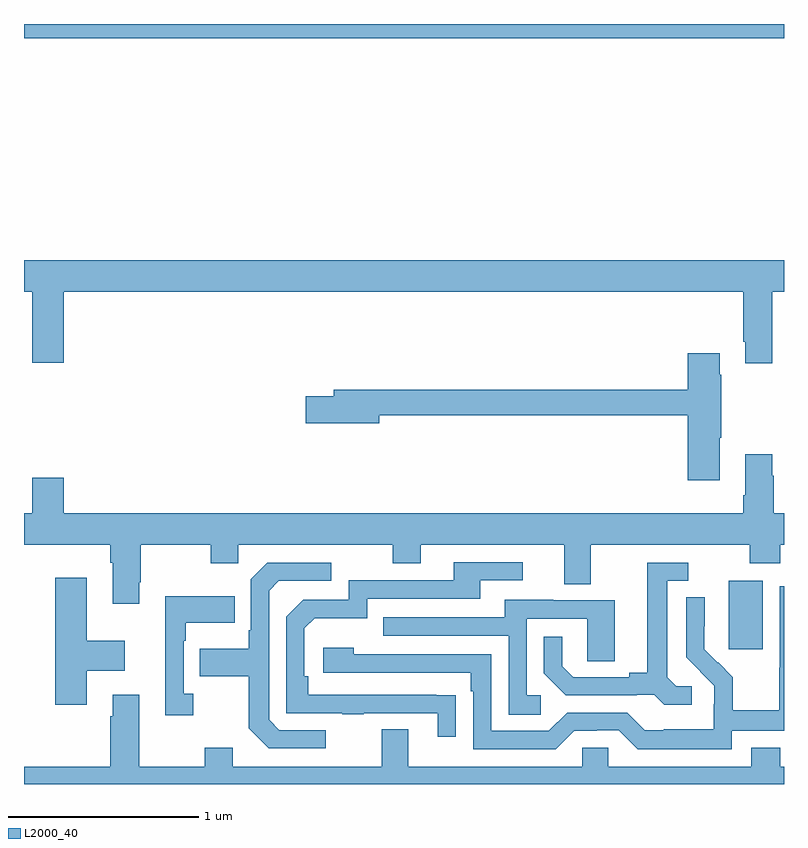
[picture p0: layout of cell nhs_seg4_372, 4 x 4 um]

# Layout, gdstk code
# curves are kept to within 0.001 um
import gdstk
lib = gdstk.Library(unit=1e-6, precision=1e-09)
def R(c, l, rs):  # rectangles x0, y0, x1, y1
    for r in rs: c.add(gdstk.rectangle(r[:2], r[2:], *l))
def P(c, l, *ps):  # polygons
    for p in ps: c.add(gdstk.Polygon(p, *l))
L2000_40 = (2000, 40)

nhs_seg4_372 = lib.new_cell('nhs_seg4_372')
R(nhs_seg4_372, L2000_40, [(132.71,789.609,132.889,789.97), (129,792.824,133,792.9)])
P(nhs_seg4_372, L2000_40, [(132.937,791.492),(133,791.492),(133,791.656),(129,791.656),(129,791.492),(129.044,791.492),(129.044,791.118),(129.208,791.118),(129.208,791.492),(132.785,791.492),(132.785,791.227),(132.797,791.227),(132.797,791.115),(132.937,791.115)],
  [(132.661,790.723),(132.669,790.723),(132.669,791.054),(132.661,791.054),(132.661,791.167),(132.494,791.167),(132.494,790.976),(130.631,790.976),(130.631,790.94),(130.482,790.94),(130.482,790.798),(130.87,790.798),(130.87,790.84),(132.494,790.84),(132.494,790.5),(132.661,790.5)],
  [(132.945,790.523),(132.937,790.523),(132.937,790.636),(132.797,790.636),(132.797,790.42),(132.785,790.42),(132.785,790.324),(129.208,790.324),(129.208,790.513),(129.044,790.513),(129.044,790.324),(129,790.324),(129,790.16),(129.455,790.16),(129.455,790.064),(129.467,790.064),(129.467,789.849),(129.607,789.849),(129.607,789.961),(129.614,789.961),(129.614,790.16),(129.982,790.16),(129.982,790.061),(130.128,790.061),(130.128,790.16),(130.942,790.16),(130.942,790.061),(131.089,790.061),(131.089,790.16),(131.843,790.16),(131.843,789.952),(131.983,789.952),(131.983,790.16),(132.82,790.16),(132.82,790.061),(132.98,790.061),(132.98,790.16),(133,790.16),(133,790.324),(132.945,790.324)],
  [(131.273,789.368),(130.496,789.369),(130.496,789.466),(130.476,789.466),(130.476,789.72),(130.529,789.773),(130.806,789.773),(130.806,789.876),(131.401,789.876),(131.401,789.972),(131.626,789.972),(131.626,790.068),(131.261,790.068),(131.261,789.972),(130.71,789.972),(130.71,789.87),(130.47,789.87),(130.38,789.78),(130.38,789.273),(130.675,789.273),(130.675,789.268),(130.787,789.268),(130.787,789.273),(131.177,789.273),(131.177,789.15),(131.273,789.15)],
  [(132.514,789.414),(132.432,789.414),(132.385,789.461),(132.385,789.969),(132.496,789.969),(132.496,790.065),(132.281,790.065),(132.281,789.485),(132.185,789.485),(132.185,789.462),(131.89,789.462),(131.833,789.519),(131.833,789.676),(131.736,789.676),(131.736,789.482),(131.852,789.366),(132.224,789.366),(132.224,789.369),(132.318,789.369),(132.37,789.317),(132.514,789.317)],
  [(130.588,789.183),(130.344,789.183),(130.29,789.237),(130.29,789.918),(130.341,789.969),(130.618,789.969),(130.618,790.065),(130.281,790.065),(130.194,789.978),(130.194,789.709),(130.182,789.709),(130.182,789.613),(129.925,789.613),(129.925,789.466),(130.182,789.466),(130.182,789.193),(130.287,789.087),(130.588,789.087)],
  [(129.331,789.497),(129.529,789.497),(129.529,789.655),(129.331,789.655),(129.331,789.985),(129.164,789.985),(129.164,789.318),(129.331,789.318)],
  [(132.726,789.18),(133,789.18),(133,789.942),(132.978,789.942),(132.978,789.512),(132.976,789.512),(132.976,789.289),(132.731,789.289),(132.731,789.463),(132.654,789.54),(132.651,789.537),(132.581,789.608),(132.582,789.884),(132.486,789.884),(132.486,789.566),(132.632,789.418),(132.632,789.321),(132.63,789.321),(132.63,789.187),(132.367,789.187),(132.367,789.183),(132.267,789.183),(132.174,789.276),(131.859,789.276),(131.763,789.18),(131.46,789.18),(131.46,789.582),(130.736,789.582),(130.736,789.616),(130.575,789.616),(130.575,789.486),(131.351,789.486),(131.351,789.389),(131.364,789.389),(131.364,789.084),(131.799,789.084),(131.895,789.18),(132.014,789.18),(132.014,789.183),(132.129,789.183),(132.229,789.083),(132.726,789.083)],
  [(129.892,789.374),(129.84,789.374),(129.84,789.653),(129.852,789.653),(129.852,789.749),(130.109,789.749),(130.109,789.889),(129.743,789.889),(129.743,789.261),(129.892,789.261)],
  [(131.719,789.366),(131.646,789.366),(131.646,789.771),(131.964,789.771),(131.964,789.547),(132.109,789.547),(132.109,789.867),(131.785,789.867),(131.785,789.871),(131.531,789.871),(131.531,789.777),(130.891,789.777),(130.891,789.681),(131.55,789.681),(131.55,789.265),(131.719,789.265)],
  [(133,788.992),(132.98,788.992),(132.98,789.091),(132.827,789.091),(132.827,788.992),(132.075,788.992),(132.075,789.09),(131.937,789.09),(131.937,788.992),(131.023,788.992),(131.023,789.187),(130.883,789.187),(130.883,788.992),(130.099,788.992),(130.099,789.091),(129.952,789.091),(129.952,788.992),(129.607,788.992),(129.607,789.37),(129.467,789.37),(129.467,789.257),(129.455,789.257),(129.455,788.992),(129,788.992),(129,788.9),(133,788.9)])

lib.write_gds('nhs_seg4_372.gds')
